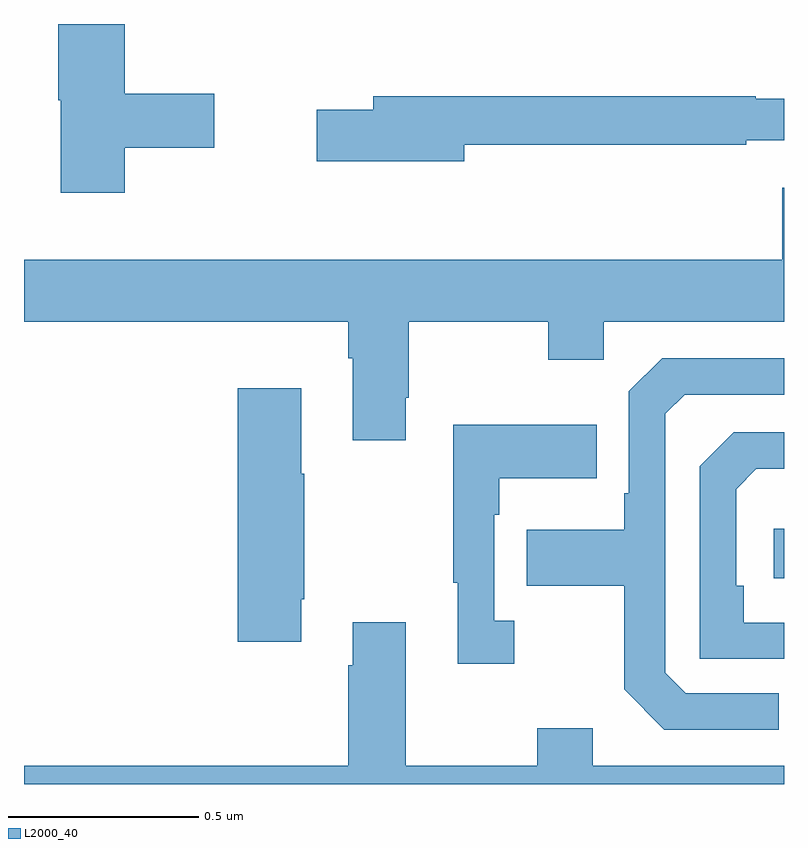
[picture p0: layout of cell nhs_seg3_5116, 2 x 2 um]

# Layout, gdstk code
import gdstk
lib = gdstk.Library(unit=1e-6, precision=1e-09)
def R(c, l, rs):  # rectangles x0, y0, x1, y1
    for r in rs: c.add(gdstk.rectangle(r[:2], r[2:], *l))
def P(c, l, *ps):  # polygons
    for p in ps: c.add(gdstk.Polygon(p, *l))
L2000_40 = (2000, 40)

nhs_seg3_5116 = lib.new_cell('nhs_seg3_5116')
R(nhs_seg3_5116, L2000_40, [(176.973,666.942,177,667.072)])
P(nhs_seg3_5116, L2000_40, [(175.265,668.074),(175.501,668.074),(175.501,668.216),(175.265,668.216),(175.265,668.4),(175.09,668.4),(175.09,668.199),(175.097,668.199),(175.097,667.956),(175.265,667.956)],
  [(176.158,668.082),(176.9,668.082),(176.9,668.094),(177,668.094),(177,668.203),(176.926,668.203),(176.926,668.21),(175.919,668.21),(175.919,668.174),(175.77,668.174),(175.77,668.039),(176.158,668.039)],
  [(175,667.616),(175.853,667.616),(175.853,667.52),(175.865,667.52),(175.865,667.305),(176.005,667.305),(176.005,667.417),(176.013,667.417),(176.013,667.616),(176.38,667.616),(176.38,667.517),(176.526,667.517),(176.526,667.616),(177,667.616),(177,667.969),(176.996,667.969),(176.996,667.78),(175,667.78)],
  [(176.986,666.639),(176.742,666.639),(176.688,666.693),(176.688,667.374),(176.739,667.425),(177,667.425),(177,667.521),(176.679,667.521),(176.592,667.434),(176.592,667.165),(176.58,667.165),(176.58,667.069),(176.323,667.069),(176.323,666.922),(176.58,666.922),(176.58,666.649),(176.685,666.543),(176.986,666.543)],
  [(175.729,666.886),(175.737,666.886),(175.737,667.217),(175.729,667.217),(175.729,667.441),(175.562,667.441),(175.562,666.774),(175.729,666.774)],
  [(176.29,666.83),(176.238,666.83),(176.238,667.109),(176.251,667.109),(176.251,667.205),(176.507,667.205),(176.507,667.345),(176.13,667.345),(176.13,666.929),(176.141,666.929),(176.141,666.717),(176.29,666.717)],
  [(177,666.825),(176.894,666.825),(176.894,666.922),(176.874,666.922),(176.874,667.176),(176.927,667.229),(177,667.229),(177,667.326),(176.868,667.326),(176.778,667.236),(176.778,666.729),(177,666.729)],
  [(177,666.448),(176.497,666.448),(176.497,666.547),(176.35,666.547),(176.35,666.448),(176.005,666.448),(176.005,666.826),(175.865,666.826),(175.865,666.713),(175.853,666.713),(175.853,666.448),(175,666.448),(175,666.4),(177,666.4)])

lib.write_gds('nhs_seg3_5116.gds')
